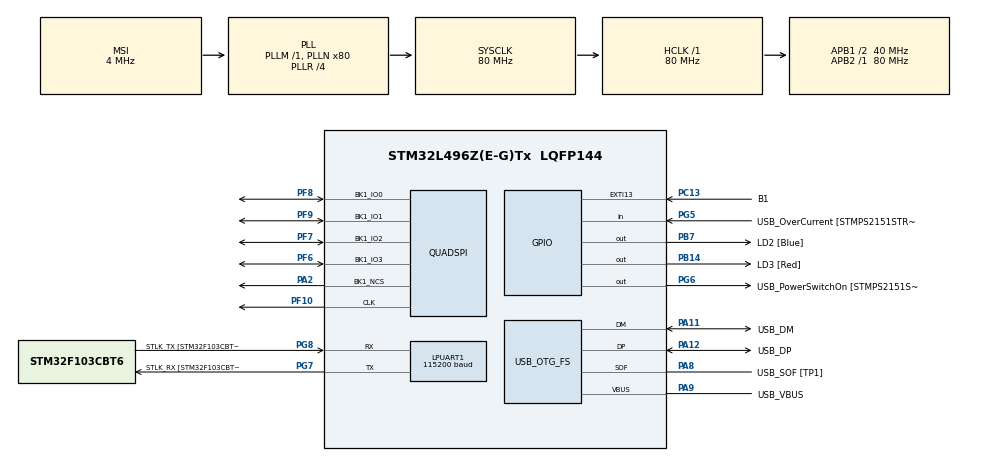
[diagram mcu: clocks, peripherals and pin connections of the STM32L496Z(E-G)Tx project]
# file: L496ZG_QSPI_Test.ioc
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LPUART1.BaudRate=115200
LPUART1.WordLength=UART_WORDLENGTH_8B
Mcu.Family=STM32L4
Mcu.Name=STM32L496Z(E-G)Tx
Mcu.Package=LQFP144
NVIC.PriorityGroup=NVIC_PRIORITYGROUP_4
PA10.GPIO_Label=USB_ID
PA10.Signal=USB_OTG_FS_ID
PA11.GPIO_Label=USB_DM
PA11.Mode=Device_Only
PA11.Signal=USB_OTG_FS_DM
PA12.GPIO_Label=USB_DP
PA12.Mode=Device_Only
PA12.Signal=USB_OTG_FS_DP
PA13\ (JTMS/SWDIO).GPIO_Label=TMS
PA13\ (JTMS/SWDIO).Mode=Trace_Asynchronous_SW
PA13\ (JTMS/SWDIO).Signal=SYS_JTMS-SWDIO
PA14\ (JTCK/SWCLK).GPIO_Label=TCK
PA14\ (JTCK/SWCLK).Mode=Trace_Asynchronous_SW
PA14\ (JTCK/SWCLK).Signal=SYS_JTCK-SWCLK
PA2.Mode=Single Bank 1
PA2.Signal=QUADSPI_BK1_NCS
PA8.GPIO_Label=USB_SOF [TP1]
PA8.Mode=Activate_SOF_FS
PA8.Signal=USB_OTG_FS_SOF
PA9.GPIO_Label=USB_VBUS
PA9.Mode=Activate_VBUS
PA9.Signal=USB_OTG_FS_VBUS
PB14.GPIO_Label=LD3 [Red]
PB14.Signal=GPIO_Output
PB3\ (JTDO/TRACESWO).GPIO_Label=SWO
PB3\ (JTDO/TRACESWO).Mode=Trace_Asynchronous_SW
PB3\ (JTDO/TRACESWO).Signal=SYS_JTDO-SWO
PB7.GPIO_Label=LD2 [Blue]
PB7.Signal=GPIO_Output
PC13.GPIO_Label=B1
PC13.Signal=GPXTI13
PC14-OSC32_IN\ (PC14).Mode=LSE-External-Oscillator
PC14-OSC32_IN\ (PC14).Signal=RCC_OSC32_IN
PC15-OSC32_OUT\ (PC15).Mode=LSE-External-Oscillator
PC15-OSC32_OUT\ (PC15).Signal=RCC_OSC32_OUT
PF10.Mode=Single Bank 1
PF10.Signal=QUADSPI_CLK
PF6.Mode=Single Bank 1
PF6.Signal=QUADSPI_BK1_IO3
PF7.Mode=Single Bank 1
PF7.Signal=QUADSPI_BK1_IO2
PF8.Mode=Single Bank 1
PF8.Signal=QUADSPI_BK1_IO0
PF9.Mode=Single Bank 1
PF9.Signal=QUADSPI_BK1_IO1
PG5.GPIO_Label=USB_OverCurrent [STMPS2151STR_FAULT]
PG5.Signal=GPIO_Input
PG6.GPIO_Label=USB_PowerSwitchOn [STMPS2151STR_EN]
PG6.Signal=GPIO_Output
PG7.GPIO_Label=STLK_RX [STM32F103CBT6_PA3]
PG7.Mode=Asynchronous
PG7.Signal=LPUART1_TX
PG8.GPIO_Label=STLK_TX [STM32F103CBT6_PA2]
PG8.Mode=Asynchronous
PG8.Signal=LPUART1_RX
PH1-OSC_OUT\ (PH1).Signal=RCC_OSC_OUT
ProjectManager.HeapSize=0x200
ProjectManager.StackSize=0x400
ProjectManager.TargetToolchain=STM32CubeIDE
QUADSPI.ClockPrescaler=4
QUADSPI.FlashSize=23
RCC.48MHZClocksFreq_Value=24000000
RCC.ADCFreq_Value=48000000
RCC.AHBFreq_Value=80000000
RCC.APB1CLKDivider=RCC_HCLK_DIV2
RCC.APB1Freq_Value=40000000
RCC.APB1TimFreq_Value=80000000
RCC.APB2Freq_Value=80000000
RCC.APB2TimFreq_Value=80000000
RCC.CortexFreq_Value=80000000
RCC.HCLKFreq_Value=80000000
RCC.HSE_VALUE=8000000
RCC.HSI48_VALUE=48000000
RCC.HSI_VALUE=16000000
RCC.MSI_VALUE=4000000
RCC.PLLMUL=RCC_PLL_MUL9
RCC.PLLN=80
RCC.PLLR=RCC_PLLR_DIV4
RCC.PLLSAI1N=24
RCC.PRESCALERUSB=RCC_USBCLKSOURCE_PLL_DIV1_5
RCC.SYSCLKFreq_VALUE=80000000
RCC.SYSCLKSource=RCC_SYSCLKSOURCE_PLLCLK
RCC.SYSCLKSourceVirtual=RCC_SYSCLKSOURCE_PLLCLK
RCC.USBFreq_Value=48000000
RCC.VCOOutputFreq_Value=320000000
USB_OTG_FS.VirtualMode=Device_Only
board=NUCLEO-L496ZG

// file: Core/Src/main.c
/* USER CODE BEGIN Header */
/**
  ******************************************************************************
  * @file           : main.c
  * @brief          : Main program body
  ******************************************************************************
  * @attention
  *
  * Copyright (c) 2022 STMicroelectronics.
  * All rights reserved.
  *
  * This software is licensed under terms that can be found in the LICENSE file
  * in the root directory of this software component.
  * If no LICENSE file comes with this software, it is provided AS-IS.
  *
  ******************************************************************************
  */
/* USER CODE END Header */
#include "main.h"

/* USER CODE BEGIN Includes */
#include "w25q_mem.h"
/* USER CODE END Includes */

/* USER CODE BEGIN PTD */
//#define NEW_SEVER

/* USER CODE END PTD */

UART_HandleTypeDef hlpuart1;

QSPI_HandleTypeDef hqspi;

PCD_HandleTypeDef hpcd_USB_OTG_FS;

void SystemClock_Config(void);
static void MX_GPIO_Init(void);
static void MX_LPUART1_UART_Init(void);
static void MX_USB_OTG_FS_PCD_Init(void);
static void MX_QUADSPI_Init(void);
/* USER CODE BEGIN PFP */
uint8_t rxData[2];

int _write(int fd, char *str, int len)
{
	for(int i=0; i<len; i++)
	{
		HAL_UART_Transmit(&hlpuart1, (uint8_t *)&str[i], 1, 0xFFFF);
	}
	return len;
}

void HAL_UART_RxCpltCallback(UART_HandleTypeDef *huart) {

    /*
        This will be called once data is received successfully,
        via interrupts.
    */

     /*
       loop back received data
     */
     HAL_UART_Receive_IT(&hlpuart1, rxData, 1);
     HAL_UART_Transmit(&hlpuart1, rxData, 1, 1000);
}
/* USER CODE END PFP */

int main(void)
{
  /* USER CODE BEGIN 1 */
  uint8_t rxData;
  W25Q_STATE res_W25Q;

  /* USER CODE END 1 */

  /* MCU Configuration--------------------------------------------------------*/

  /* Reset of all peripherals, Initializes the Flash interface and the Systick. */
  HAL_Init();

  /* Configure the system clock */
  SystemClock_Config();

  /* Initialize all configured peripherals */
  MX_GPIO_Init();
  MX_LPUART1_UART_Init();
  MX_USB_OTG_FS_PCD_Init();
  MX_QUADSPI_Init();
  /* USER CODE BEGIN 2 */
  HAL_UART_Receive_IT(&hlpuart1, rxData, 1);
  printf("hello world !! \r\n");
  /* USER CODE END 2 */

  /* Infinite loop */
  /* USER CODE BEGIN WHILE */
#if 1
  res_W25Q = W25Q_Init();		 // init the chip
  printf("Init RES = %d \r\n", (uint8_t)res_W25Q);
	res_W25Q = W25Q_EraseSector(0); // erase 4K sector - required before recording
  printf("W25Q_EraseSector RES = %d \r\n", (uint8_t)res_W25Q);

	// make test data
	uint8_t byte = 0x65;
	uint8_t byte_read = 0;
	uint8_t in_page_shift = 0;
	uint8_t page_number = 0;
	// write data
	printf("input byte : %02X\r\n", byte);
	res_W25Q = W25Q_ProgramByte(byte, in_page_shift, page_number);
  printf("W25Q_ProgramByte RES = %d \r\n", (uint8_t)res_W25Q);
	// read data
	res_W25Q = W25Q_ReadByte(&byte_read, in_page_shift, page_number);
  printf("W25Q_ReadByte RES = %d \r\n", (uint8_t)res_W25Q);
	printf("output byte : %02X\r\n", byte_read);
#if 1
	// make example structure
	struct STR {
		uint8_t abc;
		uint32_t bca;
		char str[4];
		float gg;
	}_str,_str2;

	// fill instance
	_str.abc = 0x20;
	_str.bca = 0x3F3F4A;
	_str.str[0] = 'a';
	_str.str[1] = 'b';
	_str.str[2] = 'c';
	_str.str[3] = '\0';
	_str.gg = 0.658;

	uint16_t len = sizeof(_str);	// length of structure in bytes
	printf("input data \r\n abc : 0x%02X\r\n dca : 0x%06X\r\n str : %s\r\n gg : %f\r\n", _str.abc, _str.bca, _str.str, _str.gg);
	// program structure
	W25Q_ProgramData((uint8_t*) &_str, len, ++in_page_shift, page_number);
	// read structure to another instance
	W25Q_ReadData((uint8_t*) &_str2, len, in_page_shift, page_number);
	printf("output data \r\n abc : 0x%02X\r\n dca : 0x%06X\r\n str : %s\r\n gg : %f\r\n", _str2.abc, _str2.bca, _str2.str, _str2.gg);
  #endif
#endif
  while (1)
  {
    /* USER CODE END WHILE */

  }
}

void SystemClock_Config(void)
{
  RCC_OscInitTypeDef RCC_OscInitStruct = {0};
  RCC_ClkInitTypeDef RCC_ClkInitStruct = {0};

  /** Configure the main internal regulator output voltage
  */
  if (HAL_PWREx_ControlVoltageScaling(PWR_REGULATOR_VOLTAGE_SCALE1) != HAL_OK)
  {
    Error_Handler();
  }

  /** Configure LSE Drive Capability
  */
  HAL_PWR_EnableBkUpAccess();
  __HAL_RCC_LSEDRIVE_CONFIG(RCC_LSEDRIVE_LOW);

  /** Initializes the RCC Oscillators according to the specified parameters
  * in the RCC_OscInitTypeDef structure.
  */
  RCC_OscInitStruct.OscillatorType = RCC_OSCILLATORTYPE_LSE|RCC_OSCILLATORTYPE_MSI;
  RCC_OscInitStruct.LSEState = RCC_LSE_ON;
  RCC_OscInitStruct.MSIState = RCC_MSI_ON;
  RCC_OscInitStruct.MSICalibrationValue = 0;
  RCC_OscInitStruct.MSIClockRange = RCC_MSIRANGE_6;
  RCC_OscInitStruct.PLL.PLLState = RCC_PLL_ON;
  RCC_OscInitStruct.PLL.PLLSource = RCC_PLLSOURCE_MSI;
  RCC_OscInitStruct.PLL.PLLM = 1;
  RCC_OscInitStruct.PLL.PLLN = 80;
  RCC_OscInitStruct.PLL.PLLP = RCC_PLLP_DIV2;
  RCC_OscInitStruct.PLL.PLLQ = RCC_PLLQ_DIV2;
  RCC_OscInitStruct.PLL.PLLR = RCC_PLLR_DIV4;
  if (HAL_RCC_OscConfig(&RCC_OscInitStruct) != HAL_OK)
  {
    Error_Handler();
  }

  /** Initializes the CPU, AHB and APB buses clocks
  */
  RCC_ClkInitStruct.ClockType = RCC_CLOCKTYPE_HCLK|RCC_CLOCKTYPE_SYSCLK
                              |RCC_CLOCKTYPE_PCLK1|RCC_CLOCKTYPE_PCLK2;
  RCC_ClkInitStruct.SYSCLKSource = RCC_SYSCLKSOURCE_PLLCLK;
  RCC_ClkInitStruct.AHBCLKDivider = RCC_SYSCLK_DIV1;
  RCC_ClkInitStruct.APB1CLKDivider = RCC_HCLK_DIV2;
  RCC_ClkInitStruct.APB2CLKDivider = RCC_HCLK_DIV1;

  if (HAL_RCC_ClockConfig(&RCC_ClkInitStruct, FLASH_LATENCY_4) != HAL_OK)
  {
    Error_Handler();
  }

  /** Enable MSI Auto calibration
  */
  HAL_RCCEx_EnableMSIPLLMode();
}

static void MX_LPUART1_UART_Init(void)
{

  hlpuart1.Instance = LPUART1;
  hlpuart1.Init.BaudRate = 115200;
  hlpuart1.Init.WordLength = UART_WORDLENGTH_8B;
  hlpuart1.Init.StopBits = UART_STOPBITS_1;
  hlpuart1.Init.Parity = UART_PARITY_NONE;
  hlpuart1.Init.Mode = UART_MODE_TX_RX;
  hlpuart1.Init.HwFlowCtl = UART_HWCONTROL_NONE;
  hlpuart1.Init.OneBitSampling = UART_ONE_BIT_SAMPLE_DISABLE;
  hlpuart1.AdvancedInit.AdvFeatureInit = UART_ADVFEATURE_NO_INIT;
  if (HAL_UART_Init(&hlpuart1) != HAL_OK)
  {
    Error_Handler();
  }

}

static void MX_QUADSPI_Init(void)
{

  /* QUADSPI parameter configuration*/
  hqspi.Instance = QUADSPI;
  hqspi.Init.ClockPrescaler = 4;
  hqspi.Init.FifoThreshold = 1;
  hqspi.Init.SampleShifting = QSPI_SAMPLE_SHIFTING_NONE;
  hqspi.Init.FlashSize = 23;
  hqspi.Init.ChipSelectHighTime = QSPI_CS_HIGH_TIME_1_CYCLE;
  hqspi.Init.ClockMode = QSPI_CLOCK_MODE_0;
  hqspi.Init.FlashID = QSPI_FLASH_ID_1;
  hqspi.Init.DualFlash = QSPI_DUALFLASH_DISABLE;
  if (HAL_QSPI_Init(&hqspi) != HAL_OK)
  {
    Error_Handler();
  }

}

static void MX_USB_OTG_FS_PCD_Init(void)
{

  hpcd_USB_OTG_FS.Instance = USB_OTG_FS;
  hpcd_USB_OTG_FS.Init.dev_endpoints = 6;
  hpcd_USB_OTG_FS.Init.speed = PCD_SPEED_FULL;
  hpcd_USB_OTG_FS.Init.phy_itface = PCD_PHY_EMBEDDED;
  hpcd_USB_OTG_FS.Init.Sof_enable = ENABLE;
  hpcd_USB_OTG_FS.Init.low_power_enable = DISABLE;
  hpcd_USB_OTG_FS.Init.lpm_enable = DISABLE;
  hpcd_USB_OTG_FS.Init.battery_charging_enable = ENABLE;
  hpcd_USB_OTG_FS.Init.use_dedicated_ep1 = DISABLE;
  hpcd_USB_OTG_FS.Init.vbus_sensing_enable = ENABLE;
  if (HAL_PCD_Init(&hpcd_USB_OTG_FS) != HAL_OK)
  {
    Error_Handler();
  }

}

static void MX_GPIO_Init(void)
{
  GPIO_InitTypeDef GPIO_InitStruct = {0};

  /* GPIO Ports Clock Enable */
  __HAL_RCC_GPIOC_CLK_ENABLE();
  __HAL_RCC_GPIOF_CLK_ENABLE();
  __HAL_RCC_GPIOH_CLK_ENABLE();
  __HAL_RCC_GPIOA_CLK_ENABLE();
  __HAL_RCC_GPIOB_CLK_ENABLE();
  __HAL_RCC_GPIOG_CLK_ENABLE();
  HAL_PWREx_EnableVddIO2();

  /*Configure GPIO pin Output Level */
  HAL_GPIO_WritePin(GPIOB, LD3_Pin|LD2_Pin, GPIO_PIN_RESET);

  /*Configure GPIO pin Output Level */
  HAL_GPIO_WritePin(USB_PowerSwitchOn_GPIO_Port, USB_PowerSwitchOn_Pin, GPIO_PIN_RESET);

  /*Configure GPIO pin : B1_Pin */
  GPIO_InitStruct.Pin = B1_Pin;
  GPIO_InitStruct.Mode = GPIO_MODE_IT_RISING;
  GPIO_InitStruct.Pull = GPIO_NOPULL;
  HAL_GPIO_Init(B1_GPIO_Port, &GPIO_InitStruct);

  /*Configure GPIO pins : LD3_Pin LD2_Pin */
  GPIO_InitStruct.Pin = LD3_Pin|LD2_Pin;
  GPIO_InitStruct.Mode = GPIO_MODE_OUTPUT_PP;
  GPIO_InitStruct.Pull = GPIO_NOPULL;
  GPIO_InitStruct.Speed = GPIO_SPEED_FREQ_LOW;
  HAL_GPIO_Init(GPIOB, &GPIO_InitStruct);

  /*Configure GPIO pin : USB_OverCurrent_Pin */
  GPIO_InitStruct.Pin = USB_OverCurrent_Pin;
  GPIO_InitStruct.Mode = GPIO_MODE_INPUT;
  GPIO_InitStruct.Pull = GPIO_NOPULL;
  HAL_GPIO_Init(USB_OverCurrent_GPIO_Port, &GPIO_InitStruct);

  /*Configure GPIO pin : USB_PowerSwitchOn_Pin */
  GPIO_InitStruct.Pin = USB_PowerSwitchOn_Pin;
  GPIO_InitStruct.Mode = GPIO_MODE_OUTPUT_PP;
  GPIO_InitStruct.Pull = GPIO_NOPULL;
  GPIO_InitStruct.Speed = GPIO_SPEED_FREQ_LOW;
  HAL_GPIO_Init(USB_PowerSwitchOn_GPIO_Port, &GPIO_InitStruct);

}

void Error_Handler(void)
{
  __disable_irq();
  while (1)
  {
  }
}
